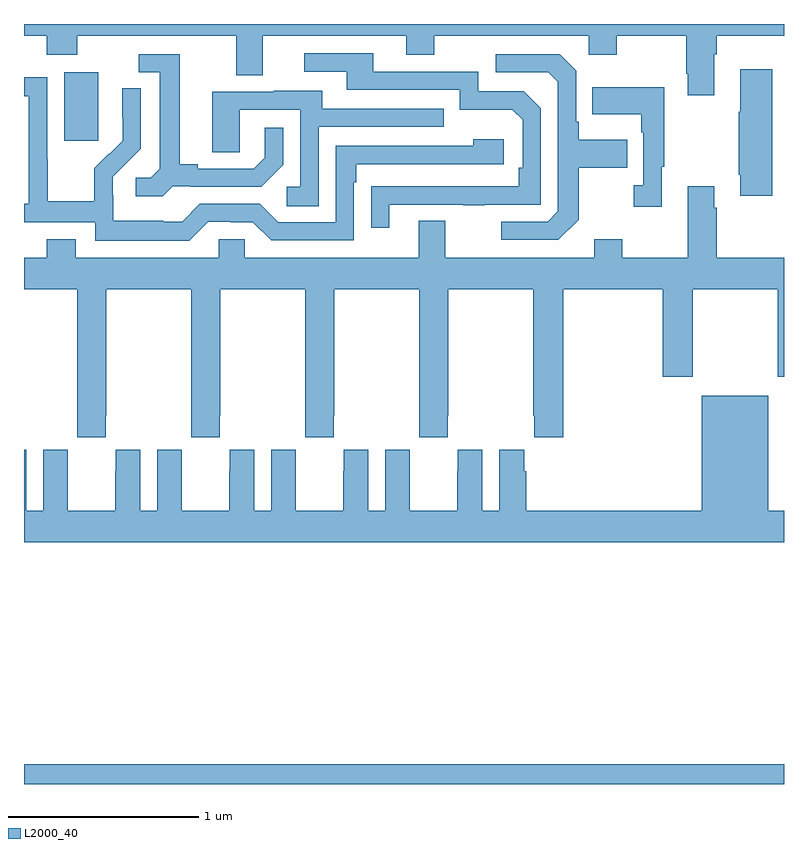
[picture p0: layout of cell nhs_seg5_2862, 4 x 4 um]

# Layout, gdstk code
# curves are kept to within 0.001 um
import gdstk
lib = gdstk.Library(unit=1e-6, precision=1e-09)
def R(c, l, rs):  # rectangles x0, y0, x1, y1
    for r in rs: c.add(gdstk.rectangle(r[:2], r[2:], *l))
def P(c, l, *ps):  # polygons
    for p in ps: c.add(gdstk.Polygon(p, *l))
L2000_40 = (2000, 40)

nhs_seg5_2862 = lib.new_cell('nhs_seg5_2862')
R(nhs_seg5_2862, L2000_40, [(277,876.799,281,876.904), (277.211,880.185,277.39,880.546)])
P(nhs_seg5_2862, L2000_40, [(280.633,880.64),(280.646,880.64),(280.646,880.736),(281,880.736),(281,880.799),(277,880.799),(277,880.736),(277.121,880.736),(277.121,880.637),(277.281,880.637),(277.281,880.736),(278.117,880.736),(278.117,880.528),(278.257,880.528),(278.257,880.736),(279.011,880.736),(279.011,880.637),(279.159,880.637),(279.159,880.736),(279.972,880.736),(279.972,880.637),(280.119,880.637),(280.119,880.736),(280.486,880.736),(280.486,880.537),(280.493,880.537),(280.493,880.425),(280.633,880.425)],
  [(278.923,879.849),(279.313,879.849),(279.313,879.844),(279.425,879.844),(279.425,879.849),(279.72,879.849),(279.72,880.356),(279.63,880.446),(279.39,880.446),(279.39,880.548),(278.839,880.548),(278.839,880.644),(278.475,880.644),(278.475,880.548),(278.699,880.548),(278.699,880.452),(279.294,880.452),(279.294,880.349),(279.571,880.349),(279.624,880.296),(279.624,880.042),(279.604,880.042),(279.604,879.945),(278.827,879.944),(278.827,879.726),(278.923,879.726)],
  [(279.919,879.769),(279.919,880.042),(280.175,880.042),(280.175,880.189),(279.919,880.189),(279.919,880.285),(279.906,880.285),(279.906,880.554),(279.819,880.641),(279.483,880.641),(279.483,880.545),(279.759,880.545),(279.81,880.494),(279.81,879.813),(279.756,879.759),(279.513,879.759),(279.513,879.663),(279.813,879.663)],
  [(277.782,879.945),(277.876,879.945),(277.876,879.942),(278.248,879.942),(278.364,880.058),(278.364,880.252),(278.267,880.252),(278.267,880.095),(278.21,880.038),(277.915,880.038),(277.915,880.061),(277.819,880.061),(277.819,880.641),(277.605,880.641),(277.605,880.545),(277.715,880.545),(277.715,880.037),(277.668,879.99),(277.587,879.99),(277.587,879.893),(277.73,879.893)],
  [(280.937,880.561),(280.769,880.561),(280.769,880.337),(280.762,880.337),(280.762,880.006),(280.769,880.006),(280.769,879.894),(280.937,879.894)],
  [(277.971,879.759),(278.087,879.759),(278.087,879.756),(278.205,879.756),(278.301,879.66),(278.736,879.66),(278.736,879.965),(278.749,879.965),(278.749,880.062),(279.526,880.062),(279.526,880.192),(279.365,880.192),(279.365,880.158),(278.64,880.158),(278.64,879.756),(278.337,879.756),(278.241,879.852),(277.926,879.852),(277.833,879.759),(277.733,879.759),(277.733,879.763),(277.47,879.763),(277.47,879.897),(277.468,879.897),(277.468,879.994),(277.614,880.142),(277.614,880.46),(277.518,880.46),(277.518,880.306),(277.52,880.306),(277.52,880.184),(277.449,880.113),(277.446,880.116),(277.369,880.039),(277.369,879.865),(277.125,879.865),(277.125,880.088),(277.122,880.088),(277.122,880.518),(277,880.518),(277,880.419),(277.026,880.419),(277.026,879.852),(277,879.852),(277,879.756),(277.374,879.756),(277.374,879.659),(277.871,879.659)],
  [(280.357,880.049),(280.369,880.049),(280.369,880.465),(279.991,880.465),(279.991,880.325),(280.248,880.325),(280.248,880.229),(280.26,880.229),(280.26,879.95),(280.209,879.95),(280.209,879.837),(280.357,879.837)],
  [(278.55,880.257),(279.209,880.257),(279.209,880.353),(278.569,880.353),(278.569,880.447),(278.315,880.447),(278.315,880.443),(277.991,880.443),(277.991,880.123),(278.136,880.123),(278.136,880.347),(278.454,880.347),(278.454,879.942),(278.382,879.942),(278.382,879.841),(278.55,879.841)],
  [(277.431,878.737),(277.434,878.737),(277.434,879.404),(277.879,879.404),(277.879,878.737),(277.881,878.737),(277.881,878.625),(278.031,878.625),(278.031,878.737),(278.034,878.737),(278.034,879.404),(278.479,879.404),(278.479,878.737),(278.481,878.737),(278.481,878.625),(278.631,878.625),(278.631,878.737),(278.634,878.737),(278.634,879.404),(279.079,879.404),(279.079,878.737),(279.081,878.737),(279.081,878.625),(279.231,878.625),(279.231,878.737),(279.234,878.737),(279.234,879.404),(279.679,879.404),(279.679,878.737),(279.685,878.737),(279.685,878.625),(279.839,878.625),(279.839,879.404),(280.361,879.404),(280.361,878.943),(280.521,878.943),(280.521,879.404),(280.966,879.404),(280.966,878.943),(281,878.943),(281,879.568),(280.646,879.568),(280.646,879.833),(280.633,879.833),(280.633,879.946),(280.493,879.946),(280.493,879.568),(280.149,879.568),(280.149,879.667),(280.001,879.667),(280.001,879.568),(279.217,879.568),(279.217,879.763),(279.077,879.763),(279.077,879.568),(278.163,879.568),(278.163,879.666),(278.025,879.666),(278.025,879.568),(277.273,879.568),(277.273,879.667),(277.121,879.667),(277.121,879.568),(277,879.568),(277,879.404),(277.279,879.404),(277.279,878.737),(277.281,878.737),(277.281,878.625),(277.431,878.625)],
  [(281,878.236),(280.918,878.236),(280.918,878.842),(280.568,878.842),(280.568,878.236),(279.644,878.236),(279.644,878.444),(279.634,878.444),(279.634,878.557),(279.5,878.557),(279.5,878.236),(279.412,878.236),(279.412,878.557),(279.282,878.557),(279.282,878.444),(279.281,878.444),(279.281,878.236),(279.031,878.236),(279.031,878.444),(279.03,878.444),(279.03,878.557),(278.9,878.557),(278.9,878.236),(278.812,878.236),(278.812,878.557),(278.682,878.557),(278.682,878.444),(278.681,878.444),(278.681,878.236),(278.431,878.236),(278.431,878.444),(278.43,878.444),(278.43,878.557),(278.3,878.557),(278.3,878.236),(278.212,878.236),(278.212,878.557),(278.082,878.557),(278.082,878.444),(278.081,878.444),(278.081,878.236),(277.831,878.236),(277.831,878.444),(277.83,878.444),(277.83,878.557),(277.7,878.557),(277.7,878.236),(277.612,878.236),(277.612,878.557),(277.482,878.557),(277.482,878.444),(277.481,878.444),(277.481,878.236),(277.231,878.236),(277.231,878.444),(277.23,878.444),(277.23,878.557),(277.1,878.557),(277.1,878.236),(277.012,878.236),(277.012,878.557),(277,878.557),(277,878.072),(281,878.072)])

lib.write_gds('nhs_seg5_2862.gds')
